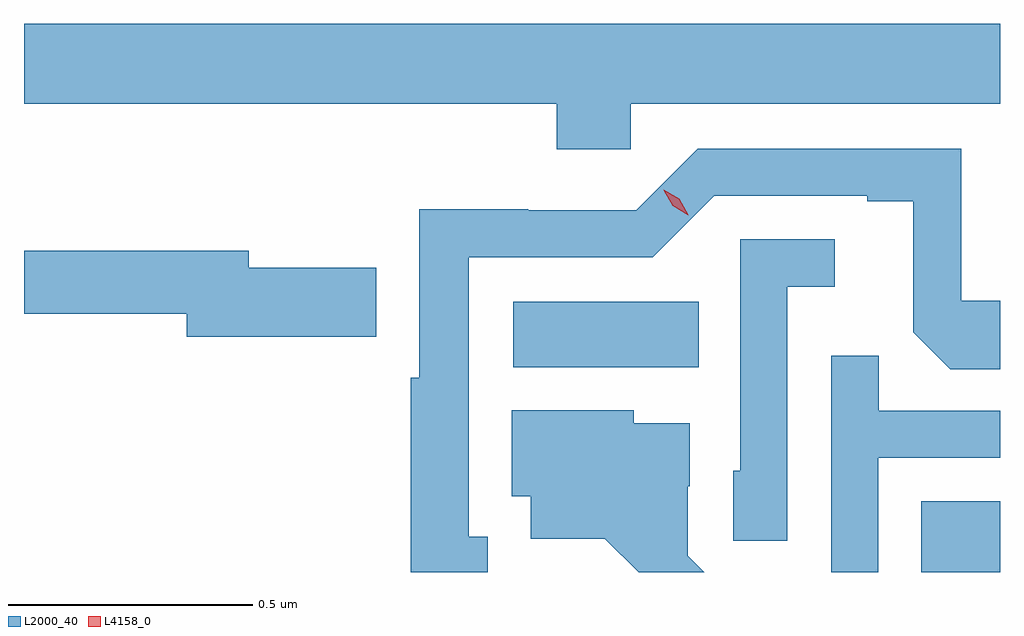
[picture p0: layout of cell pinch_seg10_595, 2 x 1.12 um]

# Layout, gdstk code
import gdstk
lib = gdstk.Library(unit=1e-6, precision=1e-09)
def R(c, l, rs):  # rectangles x0, y0, x1, y1
    for r in rs: c.add(gdstk.rectangle(r[:2], r[2:], *l))
def P(c, l, *ps):  # polygons
    for p in ps: c.add(gdstk.Polygon(p, *l))
L2000_40 = (2000, 40)
L4158_0 = (4158, 0)

pinch_seg10_595 = lib.new_cell('pinch_seg10_595')
R(pinch_seg10_595, L2000_40, [(359.324,1263.392,359.485,1263.538), (358.488,1263.812,358.868,1263.946)])
P(pinch_seg10_595, L2000_40, [(358.728,1264.352),(359.485,1264.352),(359.485,1264.516),(357.485,1264.516),(357.485,1264.352),(358.577,1264.352),(358.577,1264.259),(358.728,1264.259)],
  [(358.435,1263.465),(358.396,1263.465),(358.396,1264.038),(358.773,1264.038),(358.899,1264.164),(359.213,1264.164),(359.213,1264.152),(359.307,1264.152),(359.307,1263.884),(359.383,1263.808),(359.485,1263.808),(359.485,1263.948),(359.406,1263.948),(359.406,1264.26),(358.866,1264.26),(358.74,1264.134),(358.518,1264.134),(358.518,1264.136),(358.295,1264.136),(358.295,1263.791),(358.278,1263.791),(358.278,1263.392),(358.435,1263.392)],
  [(359.049,1263.977),(359.146,1263.977),(359.146,1264.074),(358.953,1264.074),(358.953,1263.6),(358.938,1263.6),(358.938,1263.457),(359.049,1263.457)],
  [(358.207,1264.016),(357.946,1264.016),(357.946,1264.051),(357.485,1264.051),(357.485,1263.922),(357.818,1263.922),(357.818,1263.875),(358.207,1263.875)],
  [(359.235,1263.627),(359.485,1263.627),(359.485,1263.723),(359.237,1263.723),(359.237,1263.836),(359.139,1263.836),(359.139,1263.392),(359.235,1263.392)],
  [(358.845,1263.426),(358.845,1263.568),(358.849,1263.568),(358.849,1263.697),(358.734,1263.697),(358.734,1263.724),(358.484,1263.724),(358.484,1263.548),(358.523,1263.548),(358.523,1263.461),(358.675,1263.461),(358.745,1263.392),(358.879,1263.392)])
P(pinch_seg10_595, L4158_0, [(358.846,1264.124),(358.814,1264.143),(358.796,1264.175),(358.796,1264.176),(358.796,1264.176),(358.828,1264.157),(358.846,1264.125),(358.846,1264.124)])

lib.write_gds('pinch_seg10_595.gds')
